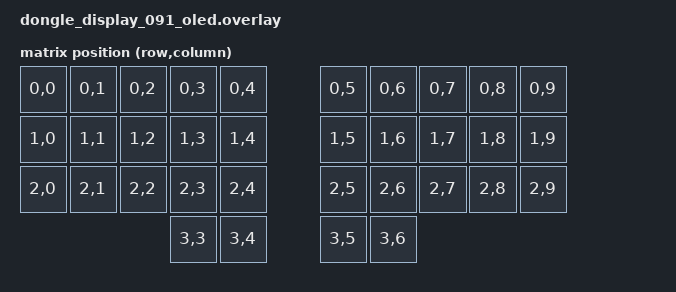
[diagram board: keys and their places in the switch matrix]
#include <dt-bindings/zmk/matrix_transform.h>

/ {
    chosen {
        zmk,matrix_transform = &default_transform;
        zephyr,display = &oled;
    };

    default_transform: keymap_transform_0 {
        compatible = "zmk,matrix-transform";
        columns = <10>;
        rows = <4>;
        map = <
            RC(0,0) RC(0,1) RC(0,2) RC(0,3) RC(0,4)    RC(0,5) RC(0,6) RC(0,7) RC(0,8) RC(0,9)
            RC(1,0) RC(1,1) RC(1,2) RC(1,3) RC(1,4)    RC(1,5) RC(1,6) RC(1,7) RC(1,8) RC(1,9)
            RC(2,0) RC(2,1) RC(2,2) RC(2,3) RC(2,4)    RC(2,5) RC(2,6) RC(2,7) RC(2,8) RC(2,9)
                                    RC(3,3) RC(3,4)    RC(3,5) RC(3,6)
        >;
    };
};

&xiao_i2c {
    status = "okay";

    oled: ssd1306@3c {
        compatible = "solomon,ssd1306fb";
        reg = <0x3c>;
        width = <128>;
        height = <32>;
        segment-offset = <0>;
        page-offset = <0>;
        display-offset = <0>;
        multiplex-ratio = <31>;
        segment-remap;
        com-invdir;
        /* 아래 설정을 추가합니다. 이게 없으면 32줄이 한 줄로 겹쳐 보일 수 있습니다. */
        /* 만약 아래 코드를 넣었는데도 안되면 삭제하고 com-sequential; 로 바꿔보세요. */
        com-sequential; 
        prechargep = <0x22>;
    };
};
